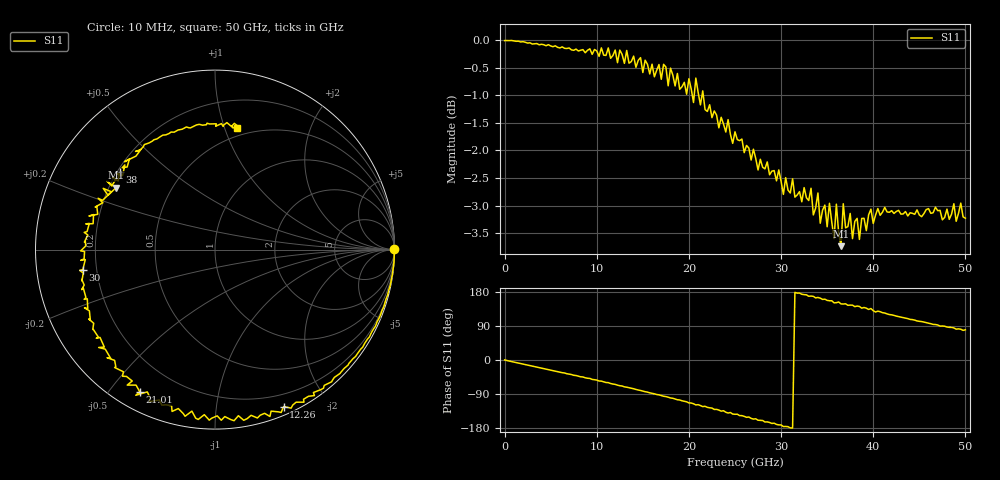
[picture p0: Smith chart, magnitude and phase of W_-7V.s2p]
!Agilent Technologies,N5227A,US51270434,A.10.00.00
!Agilent N5227A: A.10.00.00
!Date: Friday, February 13, 2026 14:21:17
!Correction: S11(Full 1 Port(1))
!S21(Off)
!S12(Off)
!S22(Off)
!S2P File: Measurements: S11, S21, S12, S22:
# Hz S  dB  R 50
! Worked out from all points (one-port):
!   201 points, 10 MHz to 50 GHz, reference 50 ohm
!   lowest |S11| = -3.7 dB at 36.5 GHz (marker M1), VSWR 4.72, Z = 11.4 + j13.7 ohm
!   |S11| at or under -10 dB: nowhere
!   S11 on the Smith chart (normalised r, x): 10 MHz: open; 12.26 GHz: 0.08, -1.53; 21.01 GHz: 0.07, -0.60; 30 GHz: 0.15, -0.07; 38 GHz: 0.21, +0.34; 50 GHz: 0.43, +1.11
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1e7  -0.01 0.2  -200.00 45.0  -200.00 45.0  -200.00 45.0
4.25915e9  -0.08 -22.7  -200.00 45.0  -200.00 45.0  -200.00 45.0
8.5083e9  -0.17 -44.7  -200.00 45.0  -200.00 45.0  -200.00 45.0
1.225755e10  -0.41 -66.4  -200.00 45.0  -200.00 45.0  -200.00 45.0
1.675665e10  -0.44 -91.9  -200.00 45.0  -200.00 45.0  -200.00 45.0
2.075585e10  -0.69 -118.5  -200.00 45.0  -200.00 45.0  -200.00 45.0
2.10058e10  -0.95 -117.9  -200.00 45.0  -200.00 45.0  -200.00 45.0
2.5005e10  -1.66 -143.2  -200.00 45.0  -200.00 45.0  -200.00 45.0
3.0004e10  -2.56 -171.4  -200.00 45.0  -200.00 45.0  -200.00 45.0
3.35033e10  -3.17 168.0  -200.00 45.0  -200.00 45.0  -200.00 45.0
3.525295e10  -2.96 156.3  -200.00 45.0  -200.00 45.0  -200.00 45.0
3.575285e10  -3.60 150.8  -200.00 45.0  -200.00 45.0  -200.00 45.0
3.60028e10  -2.97 151.3  -200.00 45.0  -200.00 45.0  -200.00 45.0
3.625275e10  -3.50 153.1  -200.00 45.0  -200.00 45.0  -200.00 45.0
3.65027e10  -3.74 148.0  -200.00 45.0  -200.00 45.0  -200.00 45.0
3.675265e10  -2.97 147.7  -200.00 45.0  -200.00 45.0  -200.00 45.0
3.80024e10  -3.29 140.8  -200.00 45.0  -200.00 45.0  -200.00 45.0
3.975205e10  -3.07 135.8  -200.00 45.0  -200.00 45.0  -200.00 45.0
4.025195e10  -3.17 126.6  -200.00 45.0  -200.00 45.0  -200.00 45.0
4.175165e10  -3.12 119.9  -200.00 45.0  -200.00 45.0  -200.00 45.0
4.60008e10  -3.06 97.2  -200.00 45.0  -200.00 45.0  -200.00 45.0
5e10  -3.23 79.6  -200.00 45.0  -200.00 45.0  -200.00 45.0
